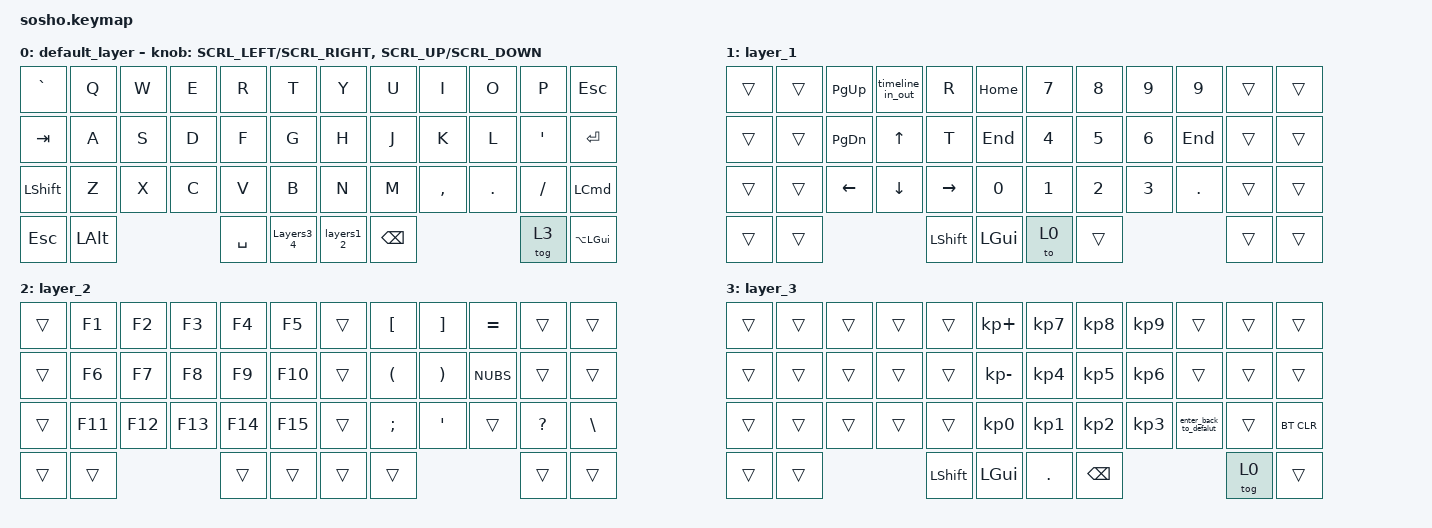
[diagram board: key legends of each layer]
//スクロール量の調整(デフォルト150)

#define ZMK_POINTING_DEFAULT_SCRL_VAL 150

#include <behaviors.dtsi>
#include <dt-bindings/zmk/bt.h>
#include <dt-bindings/zmk/keys.h>
#include <dt-bindings/zmk/pointing.h>

/ {
    behaviors {
        //エンコーダにスクロールを割り当てるためのビヘイビア

        msc_ec_l: sensor_rotation_scroll_L {
            compatible = "zmk,behavior-sensor-rotate-var";
            #sensor-binding-cells = <2>;
            bindings = <&msc>, <&msc>;

            tap-ms = <20>;
        };

        msc_ec_r: sensor_rotation_scroll_R {
            compatible = "zmk,behavior-sensor-rotate-var";
            #sensor-binding-cells = <2>;
            bindings = <&msc>, <&msc>;

            tap-ms = <20>;
        };

        Enter: Enter {
            compatible = "zmk,behavior-tap-dance";
            label = "ENTER";
            #binding-cells = <0>;
            bindings = <&mo 2>, <&kp ENTER>;

            tapping-term-ms = <35>;
        };

        layers1_2: layers1_2 {
            compatible = "zmk,behavior-tap-dance";
            label = "LAYERS1_2";
            #binding-cells = <0>;
            bindings = <&mo 1>, <&mo 2>;

            tapping-term-ms = <50>;
        };

        Layers3_4: Layers3_4 {
            compatible = "zmk,behavior-tap-dance";
            label = "LAYERS3_4";
            #binding-cells = <0>;
            tapping-term-ms = <50>;
            bindings = <&mo 3>, <&mo 4>;
        };
    };
};

//スクロールの調整

&msc {
    time-to-max-speed-ms = <0>;   // 即座に最大速度（加速なし）
    acceleration-exponent = <0>;   // 加速なし
};

/ {
    combos {
        compatible = "zmk,combos";
        prioritize-longer-keys;

        //左クリックのコンボ 19 J 20 K

        combo_LCLK {
            timeout-ms = <30>;
            key-positions = <16 15>;
            bindings = <&mkp LCLK>;
        };

        //右クリックのコンボ 20 K 21 L

        combo_RCLK {
            timeout-ms = <30>;
            key-positions = <15 14>;
            bindings = <&mkp RCLK>;
        };

        //ホイールクリックのコンボ 19 J 21 L

        combo_MCLK {
            timeout-ms = <30>;
            key-positions = <14 16>;
            bindings = <&mkp MCLK>;
        };

        //作ったけど消した。ポインティングデバイスをスクロールにしたい人向け
        //31 M 32 ,

        combo_GUI_Left {
            bindings = <&kp LEFT_GUI>;
            key-positions = <28 27>;
            timeout-ms = <50>;
        };

        combo_SHIFT_left {
            bindings = <&kp LEFT_SHIFT>;
            key-positions = <27 26>;
            timeout-ms = <30>;
        };

        combo_GUI_SHIFT_left {
            bindings = <&kp LS(LEFT_GUI)>;
            key-positions = <28 27 26>;
            timeout-ms = <30>;
        };

        combo_CSA_left {
            bindings = <&kp LS(LG(LEFT_ALT))>;
            key-positions = <26 27 28 29>;
            timeout-ms = <30>;
        };

        combo_CSO_left {
            bindings = <&kp LS(LG(LCTRL))>;
            key-positions = <25 26 27 28>;
            timeout-ms = <30>;
        };

        combo_ALT_left {
            bindings = <&kp LEFT_ALT>;
            key-positions = <29 27>;
            timeout-ms = <30>;
        };

        combo_CTRL_left {
            bindings = <&kp LEFT_CONTROL>;
            key-positions = <28 26>;
            timeout-ms = <30>;
        };

        combo_GUI_right {
            bindings = <&kp LEFT_GUI>;
            key-positions = <31 32>;
            timeout-ms = <50>;
        };

        combo_SHIFT_right {
            bindings = <&kp LEFT_SHIFT>;
            key-positions = <32 33>;
            timeout-ms = <30>;
        };

        combo_GUI_SHIFT_right {
            bindings = <&kp LS(LEFT_GUI)>;
            key-positions = <31 32 33>;
            timeout-ms = <30>;
        };

        combo_CSA_right {
            bindings = <&kp LS(LG(LEFT_ALT))>;
            key-positions = <30 31 32 33>;
            timeout-ms = <30>;
        };

        combo_CSO_right {
            bindings = <&kp LS(LG(LCTRL))>;
            key-positions = <31 32 33 34>;
            timeout-ms = <30>;
        };

        combo_ALT_right {
            bindings = <&kp LEFT_ALT>;
            key-positions = <30 31>;
            timeout-ms = <30>;
        };

        combo_CTRL_right {
            bindings = <&kp LEFT_CONTROL>;
            key-positions = <31 33>;
            timeout-ms = <30>;
        };

        boot_right {
            bindings = <&bootloader>;
            key-positions = <42 43 40 41>;
        };

        boot_left {
            bindings = <&bootloader>;
            key-positions = <38 39 36 37>;
        };

        combo_LCLK_right {
            bindings = <&mkp LCLK>;
            key-positions = <20 19>;
            timeout-ms = <30>;
        };

        combo_RCLK_right {
            bindings = <&mkp RCLK>;
            key-positions = <20 21>;
            timeout-ms = <30>;
        };
    };
};

/ {
    macros {
        timeline_in_out: timeline_in_out {
            compatible = "zmk,behavior-macro";
            #binding-cells = <0>;
            bindings = <&kp HOME &kp R &kp END &kp LEFT_ARROW &kp T>;
            label = "TIMELINE_IN_OUT";
            wait-ms = <20>;
            tap-ms = <10>;
        };

        enter_back_to_defalut: equal_back_to_defalut {
            compatible = "zmk,behavior-macro";
            #binding-cells = <0>;
            bindings = <&kp KP_ENTER &to 0>;
            label = "EQUAL_BACK_TO_DEFALUT";
        };
    };

    keymap {
        compatible = "zmk,keymap";

        default_layer {
            bindings = <
&kp GRAVE  &kp Q     &kp W  &kp E  &kp R      &kp T       &kp Y       &kp U          &kp I      &kp O    &kp P      &kp ESCAPE
&kp TAB    &kp A     &kp S  &kp D  &kp F      &kp G       &kp H       &kp J          &kp K      &kp L    &kp SQT    &kp ENTER
&kp LSHFT  &kp Z     &kp X  &kp C  &kp V      &kp B       &kp N       &kp M          &kp COMMA  &kp DOT  &kp SLASH  &kp LEFT_COMMAND
&kp ESC    &kp LALT                &kp SPACE  &Layers3_4  &layers1_2  &kp BACKSPACE                      &tog 3     &kp LA(LGUI)
            >;

            //&msc_ec_lとrは、上のビヘイビアで作ったもの。

            sensor-bindings = <&msc_ec_l SCRL_LEFT SCRL_RIGHT &msc_ec_r SCRL_UP SCRL_DOWN>;
        };

        layer_1 {
            bindings = <
&trans  &trans  &kp PAGE_UP     &timeline_in_out  &kp R            &kp HOME      &kp NUMBER_7  &kp NUMBER_8  &kp NUMBER_9  &kp N9      &trans  &trans
&trans  &trans  &kp PAGE_DOWN   &kp UP_ARROW      &kp T            &kp END       &kp N4        &kp NUMBER_5  &kp N6        &kp END     &trans  &trans
&trans  &trans  &kp LEFT_ARROW  &kp DOWN_ARROW    &kp RIGHT_ARROW  &kp N0        &kp N1        &kp N2        &kp N3        &kp PERIOD  &trans  &trans
&trans  &trans                                    &kp LEFT_SHIFT   &kp LEFT_GUI  &to 0         &trans                                  &trans  &trans
            >;
        };

        layer_2 {
            bindings = <
&trans  &kp F1   &kp F2   &kp F3   &kp F4   &kp F5   &trans  &kp LEFT_BRACKET      &kp RIGHT_BRACKET      &kp EQUAL  &trans     &trans
&trans  &kp F6   &kp F7   &kp F8   &kp F9   &kp F10  &trans  &kp LEFT_PARENTHESIS  &kp RIGHT_PARENTHESIS  &kp NUBS   &trans     &trans
&trans  &kp F11  &kp F12  &kp F13  &kp F14  &kp F15  &trans  &kp SEMI              &kp SQT                &trans     &kp QMARK  &kp BSLH
&trans  &trans                     &trans   &trans   &trans  &trans                                                  &trans     &trans
            >;
        };

        layer_3 {
            bindings = <
&trans  &trans  &trans  &trans  &trans          &kp KP_PLUS      &kp KP_NUMBER_7  &kp KP_NUMBER_8  &kp KP_NUMBER_9  &trans                  &trans  &trans
&trans  &trans  &trans  &trans  &trans          &kp KP_MINUS     &kp KP_NUMBER_4  &kp KP_NUMBER_5  &kp KP_NUMBER_6  &trans                  &trans  &trans
&trans  &trans  &trans  &trans  &trans          &kp KP_NUMBER_0  &kp KP_NUMBER_1  &kp KP_NUMBER_2  &kp KP_NUMBER_3  &enter_back_to_defalut  &trans  &bt BT_CLR
&trans  &trans                  &kp LEFT_SHIFT  &kp LEFT_GUI     &kp PERIOD       &kp BACKSPACE                                             &tog 0  &trans
            >;
        };

        scroll { status = "reserved"; };

        extra2 { status = "reserved"; };
    };
};
